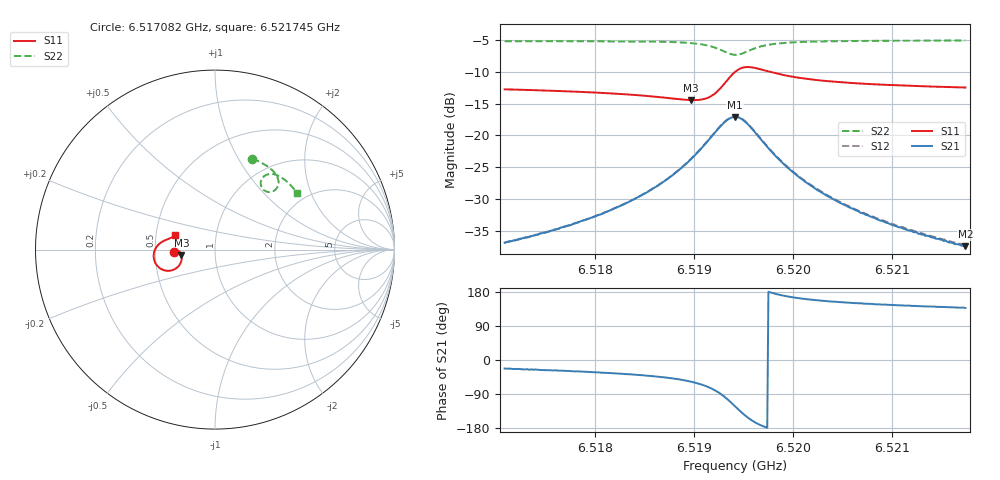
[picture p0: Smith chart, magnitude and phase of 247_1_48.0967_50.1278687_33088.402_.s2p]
#  HZ  S  RI  R  50.00
! Rohde & Schwarz Vector Network Analyzer
! Rohde-Schwarz,ZNB20-2Port,1311601062101988,3.16
! Created: UTC 12/23/2023, 3:59:22 AM
! freq[Hz]  re:S11  im:S11  re:S21  im:S21  re:S12  im:S12  re:S22  im:S22
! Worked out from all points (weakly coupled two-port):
!   401 points, 6.517082 GHz to 6.521745 GHz, reference 50 ohm
!   highest |S21| = -17.09 dB at 6.519414 GHz (marker M1); lowest = -37.4 dB at 6.521745 GHz (marker M2)
!   lowest |S11| = -14.5 dB at 6.51897 GHz (marker M3), VSWR 1.47, Z = 34.2 - j2.21 ohm
!   |S11| at or under -10 dB: start of sweep to 6.519416 GHz; 6.519764 GHz to end of sweep
!   |S22| runs from -7.4 to -5.1 dB; largest |S21 - S12| = 0.0043
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6.5170817e9  -0.2297 -0.0154  0.0133 -0.0055  0.0134 -0.00512  0.2089 0.5071
6.5175131e9  -0.2247 -0.00936  0.0157 -0.00791  0.0159 -0.00735  0.2406 0.4934
6.5178628e9  -0.2194 -0.00545  0.0184 -0.0109  0.0186 -0.0104  0.2665 0.4797
6.5183059e9  -0.2103 -0.00381  0.0233 -0.0178  0.024 -0.0169  0.2998 0.4582
6.518644e9  -0.1999 -0.00881  0.0293 -0.0287  0.0304 -0.0278  0.326 0.4354
6.5188189e9  -0.1929 -0.0168  0.0333 -0.0395  0.0345 -0.0386  0.3397 0.4186
6.5189705e9  -0.1869 -0.0311  0.0353 -0.0552  0.0372 -0.0544  0.3499 0.3983
6.5190871e9  -0.1854 -0.0506  0.0333 -0.0744  0.0358 -0.0738  0.354 0.3763
6.5191804e9  -0.1915 -0.0743  0.0241 -0.0959  0.0272 -0.0959  0.3501 0.3538
6.5192386e9  -0.203 -0.0922  0.0111 -0.1113  0.0145 -0.1117  0.341 0.3383
6.5193203e9  -0.2365 -0.1142  -0.0221 -0.1277  -0.0185 -0.1293  0.3151 0.322
6.5194135e9  -0.295 -0.1106  -0.0743 -0.1184  -0.0714 -0.1216  0.2747 0.3296
6.5194602e9  -0.3203 -0.0917  -0.0948 -0.0993  -0.0927 -0.1029  0.2601 0.346
6.5195185e9  -0.3382 -0.0599  -0.1071 -0.0697  -0.1062 -0.0732  0.2545 0.3707
6.5196234e9  -0.3376 -0.00886  -0.1009 -0.0259  -0.1009 -0.0291  0.2689 0.4042
6.5197167e9  -0.3229 0.0186  -0.0853 -0.0049  -0.0859 -0.00728  0.2895 0.4177
6.5199266e9  -0.2922 0.0447  -0.0567 0.0114  -0.0577 0.0099  0.3279 0.4202
6.5201947e9  -0.269 0.0555  -0.0372 0.0142  -0.038 0.0134  0.36 0.4082
6.5205212e9  -0.2528 0.0618  -0.0251 0.0134  -0.0258 0.013  0.3877 0.3897
6.5209759e9  -0.2393 0.0685  -0.0167 0.0115  -0.0174 0.0112  0.4176 0.3626
6.5213257e9  -0.2318 0.0734  -0.013 0.0104  -0.0135 0.0101  0.4371 0.3417
6.5217454e9  -0.2244 0.0789  -0.00995 0.0092  -0.0105 0.00912  0.4581 0.3155
